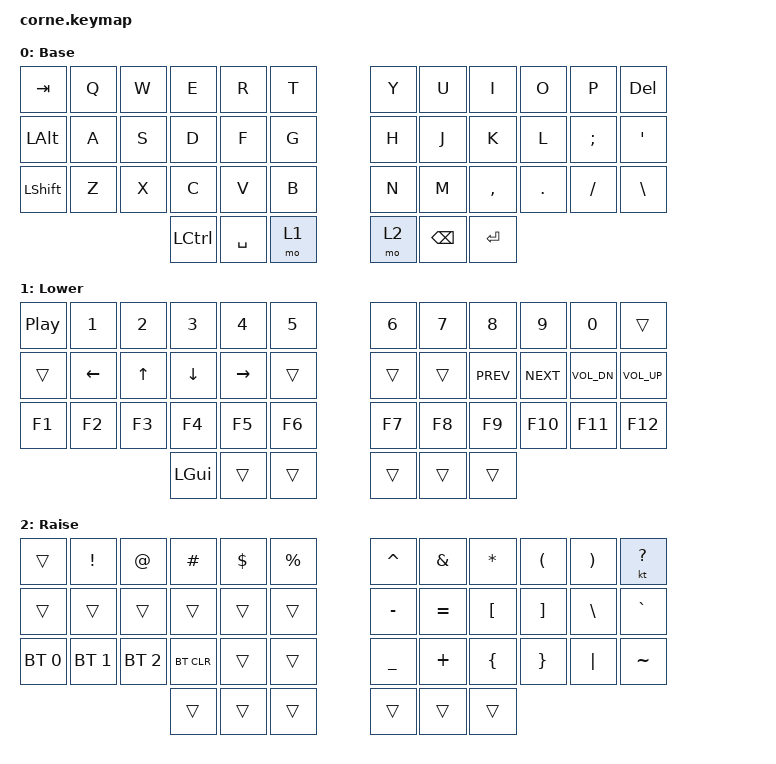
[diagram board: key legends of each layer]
/*
 * Copyright (c) 2020 The ZMK Contributors
 *
 * SPDX-License-Identifier: MIT
 */

#include <behaviors.dtsi>
#include <dt-bindings/zmk/bt.h>
#include <dt-bindings/zmk/keys.h>

/ {
    combos {
        compatible = "zmk,combos";

        altf4 {
            bindings = <&kp LA(F4)>;
            key-positions = <0 5>;
        };

        esc {
            bindings = <&kp ESC>;
            key-positions = <0 1>;
        };

        snip {
            bindings = <&kp LG(LS(S))>;
            key-positions = <36 24 14>;
        };
    };

    keymap {
        compatible = "zmk,keymap";

        default_layer {
            // -----------------------------------------------------------------------------------------
            // |  TAB |  Q  |  W  |  E  |  R  |  T  |   |  Y  |  U   |  I  |  O  |  P  | BKSP |
            // | CTRL |  A  |  S  |  D  |  F  |  G  |   |  H  |  J   |  K  |  L  |  ;  |  '   |
            // | SHFT |  Z  |  X  |  C  |  V  |  B  |   |  N  |  M   |  ,  |  .  |  /  | ESC  |
            //                    | GUI | LWR | SPC |   | ENT | RSE  | ALT |

            display-name = "Base";
            bindings = <
&kp TAB       &kp Q  &kp W  &kp E             &kp R      &kp T    &kp Y  &kp U          &kp I      &kp O    &kp P     &kp DEL
&kp LEFT_ALT  &kp A  &kp S  &kp D             &kp F      &kp G    &kp H  &kp J          &kp K      &kp L    &kp SEMI  &kp SQT
&kp LSHFT     &kp Z  &kp X  &kp C             &kp V      &kp B    &kp N  &kp M          &kp COMMA  &kp DOT  &kp FSLH  &kp BACKSLASH
                            &kp LEFT_CONTROL  &kp SPACE  &mo 1    &mo 2  &kp BACKSPACE  &kp ENTER
            >;
        };

        lower_layer {
            // -----------------------------------------------------------------------------------------
            // |  TAB |  1  |  2  |  3  |  4  |  5  |   |  6  |  7  |  8  |  9  |  0  | BKSP |
            // | BTCLR| BT1 | BT2 | BT3 | BT4 | BT5 |   | LFT | DWN |  UP | RGT |     |      |
            // | SHFT |     |     |     |     |     |   |     |     |     |     |     |      |
            //                    | GUI |     | SPC |   | ENT |     | ALT |

            display-name = "Lower";
            bindings = <
&kp C_PLAY_PAUSE  &kp N1          &kp N2        &kp N3          &kp N4           &kp N5    &kp N6  &kp N7  &kp N8      &kp N9      &kp N0        &trans
&trans            &kp LEFT_ARROW  &kp UP_ARROW  &kp DOWN_ARROW  &kp RIGHT_ARROW  &trans    &trans  &trans  &kp C_PREV  &kp C_NEXT  &kp C_VOL_DN  &kp C_VOL_UP
&kp F1            &kp F2          &kp F3        &kp F4          &kp F5           &kp F6    &kp F7  &kp F8  &kp F9      &kp F10     &kp F11       &kp F12
                                                &kp LGUI        &trans           &trans    &trans  &trans  &trans
            >;
        };

        raise_layer {
            // -----------------------------------------------------------------------------------------
            // |  TAB |  !  |  @  |  #  |  $  |  %  |   |  ^  |  &  |  *  |  (  |  )  | BKSP |
            // | CTRL |     |     |     |     |     |   |  -  |  =  |  [  |  ]  |  \  |  `   |
            // | SHFT |     |     |     |     |     |   |  _  |  +  |  {  |  }  | "|" |  ~   |
            //                    | GUI |     | SPC |   | ENT |     | ALT |

            display-name = "Raise";
            bindings = <
&trans        &kp EXCL      &kp AT        &kp HASH    &kp DLLR  &kp PRCNT    &kp CARET  &kp AMPS   &kp STAR  &kp LPAR  &kp RPAR  &kt QUESTION
&trans        &trans        &trans        &trans      &trans    &trans       &kp MINUS  &kp EQUAL  &kp LBKT  &kp RBKT  &kp BSLH  &kp GRAVE
&bt BT_SEL 0  &bt BT_SEL 1  &bt BT_SEL 2  &bt BT_CLR  &trans    &trans       &kp UNDER  &kp PLUS   &kp LBRC  &kp RBRC  &kp PIPE  &kp TILDE
                                          &trans      &trans    &trans       &trans     &trans     &trans
            >;
        };
    };
};
